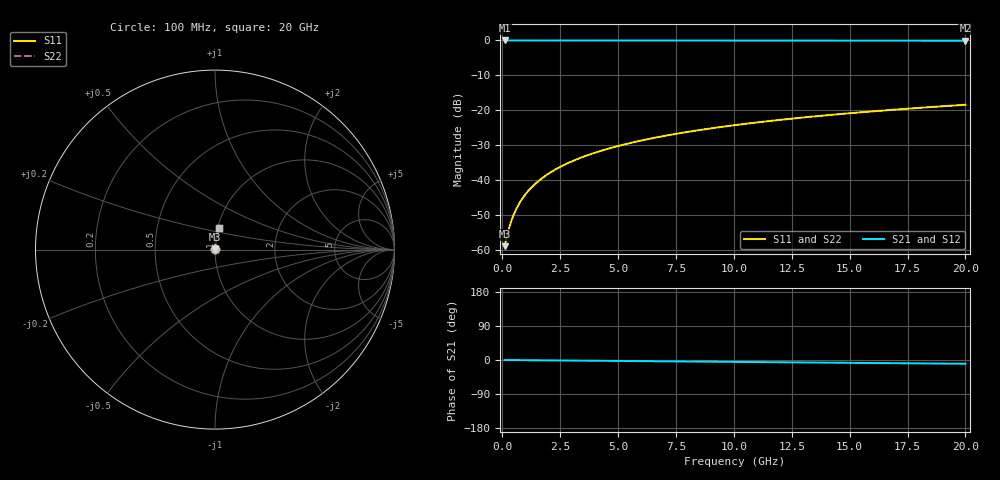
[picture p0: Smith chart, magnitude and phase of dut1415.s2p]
! Touchstone file exported from HFSS 2026.1.0
!  File:  C:/ffzhzh/LocalFiles/Ansys_Project_Files/temp_train_TSV_1415_1783197144_43440.aedt
!  Generated:  04:34:48 AM Jul  5, 2026
!  Design:  TSV
!  Project:  temp_train_TSV_1415_1783197144_43440
! Variables:
!  h_bsmrdl = 2um
!  h_ox = 20um
!  h_rdl = 5um
!  h_sub = 63.81um
!  h_tmrdl = 5um
!  h_tsv = 63.81um
!  h_via = 3um
!  l_bsmrdl = 300um
!  l_sub = 405.6um
!  l_tmrdl = 200um
!  m_sub = 200um
!  pitch = 50.27um
!  r_tsv = 2.8um
!  s_tmrdl = 10um
!  w_bsmrdl = 18um
!  w_sub = 500um
!  w_tmrdl = 12um
!  x_tsv_center1 = 206um
!  x_tsv_center2 = 524um
!  x_tsv_center3 = 736um
!  x_tsv_center4 = 1054um
!  x_tsv_center5 = 1266um
!  x_tsv_center6 = 1584um
# GHz S MA R 50.000000
! Terminal data exported
! Port[1] = TSV1_1_T1
! Port[2] = TSV1_1_T2
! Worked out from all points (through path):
!   200 points, 100 MHz to 20 GHz, reference 50 ohm
!   highest |S21| = -0.01 dB at 100 MHz (marker M1); lowest = -0.1 dB at 20 GHz (marker M2)
!   group delay of S21, straight-line fit = 1.37 ps
!   lowest |S11| = -58.8 dB at 100 MHz (marker M3), VSWR 1.00, Z = 50.1 + j0.0633 ohm
!   |S11| at or under -10 dB: start of sweep to end of sweep
!   |S22| runs from -58.8 to -18.4 dB; largest |S21 - S12| = 3.4e-15
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0.1  0.001149 33.3  0.999 -0.1  0.999 -0.1  0.001149 33.3
! Gamma 0 0 0 0
! Port Impedance 50 0 50 0
0.2  0.001589 52.5  0.999 -0.1  0.999 -0.1  0.001589 52.5
0.3  0.002125 62.6  0.999 -0.2  0.999 -0.2  0.002125 62.6
0.4  0.002699 68.5  0.999 -0.2  0.999 -0.2  0.002699 68.5
0.5  0.00329 72.3  0.999 -0.3  0.999 -0.3  0.00329 72.3
0.6  0.00389 74.9  0.999 -0.3  0.999 -0.3  0.00389 74.9
0.8  0.005104 78.3  0.999 -0.4  0.999 -0.4  0.005104 78.3
1.1  0.006943 81.0  0.999 -0.6  0.999 -0.6  0.006943 81.0
1.5  0.00941 82.9  0.9989 -0.8  0.9989 -0.8  0.00941 82.9
1.8  0.01127 83.7  0.9989 -0.9  0.9989 -0.9  0.01127 83.7
2.1  0.01312 84.3  0.9988 -1.1  0.9988 -1.1  0.01312 84.3
2.7  0.01684 84.9  0.9987 -1.4  0.9987 -1.4  0.01684 84.9
3.5  0.02178 85.1  0.9986 -1.8  0.9986 -1.8  0.02178 85.1
4.2  0.0261 85.1  0.9984 -2.1  0.9984 -2.1  0.0261 85.1
5  0.03102 85.0  0.9982 -2.5  0.9982 -2.5  0.03102 85.0
5.9  0.03653 84.8  0.9979 -3.0  0.9979 -3.0  0.03653 84.8
6.8  0.04203 84.5  0.9976 -3.4  0.9976 -3.4  0.04203 84.5
8.3  0.05113 83.9  0.997 -4.2  0.997 -4.2  0.05113 83.9
10.1  0.06199 83.1  0.9961 -5.1  0.9961 -5.1  0.06199 83.1
13.4  0.08169 81.7  0.9943 -6.7  0.9943 -6.7  0.08169 81.7
16.7  0.1012 80.2  0.9923 -8.3  0.9923 -8.3  0.1012 80.2
20  0.1205 78.7  0.9898 -9.9  0.9898 -9.9  0.1205 78.7
